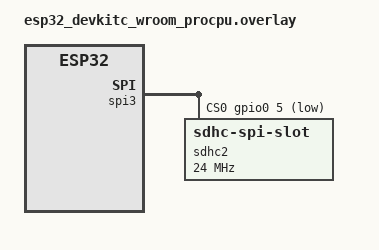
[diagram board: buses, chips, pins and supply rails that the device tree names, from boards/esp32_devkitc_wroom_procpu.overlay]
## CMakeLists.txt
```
# SPDX-License-Identifier: Apache-2.0

cmake_minimum_required(VERSION 3.20.0)
find_package(Zephyr REQUIRED HINTS $ENV{ZEPHYR_BASE})
project(mass)

#FILE(GLOB app_sources src/*.c)
#target_sources(app PRIVATE ${app_sources})

target_sources(app
	PRIVATE 
		src/zsdcard.cpp
		src/main.cpp
)
```

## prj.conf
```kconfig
CONFIG_DISK_ACCESS=y
CONFIG_LOG=y
CONFIG_FILE_SYSTEM=y
CONFIG_FAT_FILESYSTEM_ELM=y
CONFIG_PRINTK=y
CONFIG_MAIN_STACK_SIZE=2048
CONFIG_SPI=y
CONFIG_DISK_DRIVERS=y
CONFIG_DISK_DRIVER_MMC=y

CONFIG_CPP=y
```

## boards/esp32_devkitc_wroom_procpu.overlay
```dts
&spi3 {
  status = "okay";
  cs-gpios = <&gpio0 5 GPIO_ACTIVE_LOW>;

  sdhc2: sdhc@0 {
    compatible = "zephyr,sdhc-spi-slot";
    reg = <0>;
    status = "okay";
    mmc {
      compatible = "zephyr,sdmmc-disk";
      disk-name = "SD";
      status = "okay";
    };
    spi-max-frequency = <24000000>;
  };
};
```

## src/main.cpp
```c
#include "zsdcard.h"

int main(void)
{
	SDCard sdcard = SDCard();

	sdcard.testWrite();

//*
	while (1) 
	{

		k_sleep(K_MSEC(1000));
	}
//*/

	return 0;
}
```

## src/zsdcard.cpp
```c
#include "zsdcard.h"

SDCard::SDCard()
{

}

SDCard::~SDCard()
{

}

#if defined(CONFIG_FAT_FILESYSTEM_ELM)

FATFS SDCard::fat_fs;

fs_mount_t SDCard::mp = {
	.type = FS_FATFS,
	.fs_data = &fat_fs,
};

#elif defined(CONFIG_FILE_SYSTEM_EXT2)

fs_mount_t SDCard::mp = {
	.type = FS_EXT2,
	.flags = FS_MOUNT_FLAG_NO_FORMAT,
	.storage_dev = (void *)DISK_DRIVE_NAME,
	.mnt_point = "/ext",
};

#endif // CONFIG_FAT_FILESYSTEM_ELM

LOG_MODULE_REGISTER(main);

int SDCard::mkdir(const char *path)
{
	int ret = fs_mkdir(path);
	
	if (ret != 0)
	{
		LOG_ERR("Failed to create dir %s, [%d]", path, ret);
	}

	return 0;
}

const char *SDCard::disk_mount_pt = DISK_MOUNT_PT;

void SDCard::probe(void)
{
	// raw disk i/o 
	do {
		static const char *disk_pdrv = DISK_DRIVE_NAME;
		uint64_t memory_size_mb;
		uint32_t block_count;
		uint32_t block_size;

		if (disk_access_ioctl(disk_pdrv, DISK_IOCTL_CTRL_INIT, NULL) != 0) 
		{
			LOG_ERR("Storage init ERROR!");
			break;
		}

		if (disk_access_ioctl(disk_pdrv, DISK_IOCTL_GET_SECTOR_COUNT, &block_count)) 
		{
			LOG_ERR("Unable to get sector count");
			break;
		}
		
		LOG_INF("Block count %u", block_count);

		if (disk_access_ioctl(disk_pdrv, DISK_IOCTL_GET_SECTOR_SIZE, &block_size)) 
		{
			LOG_ERR("Unable to get sector size");
			break;
		}
		printk("Sector size %u\n", block_size);

		memory_size_mb = (uint64_t)block_count * block_size;
		printk("Memory Size(MB) %u\n", (uint32_t)(memory_size_mb >> 20));

		if (disk_access_ioctl(disk_pdrv, DISK_IOCTL_CTRL_DEINIT, NULL) != 0) 
		{
			LOG_ERR("Storage deinit ERROR!");
			break;
		}
	} while (0);
}

int SDCard::mount(void)
{
	mp.mnt_point = disk_mount_pt;

	int res = fs_mount(&mp);

	if (res == FS_RET_OK)
	{
		printk("Disk mounted.\n");
		// Try to unmount and remount the disk 
		res = fs_unmount(&mp);
		if (res != FS_RET_OK)
		{
			printk("Error unmounting disk\n");
			return res;
		}
		res = fs_mount(&mp);
		if (res != FS_RET_OK)
		{
			printk("Error remounting disk\n");
			return res;
		}
	}
	else 
	{
		printk("Error mounting disk.\n");
	}

	return 0;
}

int SDCard::unmount(void)
{
	fs_unmount(&mp);

	return 0;
}

int SDCard::testWrite(void)
{
	probe();

	mount();

/*
	char file_data_buffer[FILE_BUFFER_LENGTH] = {0};
	sprintf(file_data_buffer, "weeeeeeeeeeeeeeeeeee!\n");
	write(file_data_buffer, TEST_FILE);
	//write(file_data_buffer, "fml.dat");
//*/
	
	//search(file_data_buffer, "test.dat\0");
	search(NULL, "test.dat\0");
	
	//lsdir(disk_mount_pt);
	
	unmount();

	return 0;
}

int SDCard::write(char *file_data_buffer, const char *file_name)
{
	fs_file_t file;

	return write(&file, file_data_buffer, file_name);
}

int SDCard::write(fs_file_t *file, char *file_data_buffer, const char *file_name)
{
	char path[MAX_PATH] = {0};
	unsigned int base = strlen(disk_mount_pt);

	fs_file_t_init(file);

	if (base >= (sizeof(path) - REQUIRED_LEN))
	{
		LOG_ERR("Not enough concatenation buffer to create file paths");
		return 1;
	}

	LOG_INF("Creating some dir entries in %s", disk_mount_pt);
	strncpy(path, disk_mount_pt, sizeof(path));

	path[base] = '/';
	++base;
	strcat(&path[base], file_name);

	if (fs_open(file, path, FS_O_WRITE | FS_O_CREATE) != 0)
	{
		LOG_ERR("Failed to create file %s", path);
		return 1;
	}

	int ret = fs_write(file, file_data_buffer, FILE_BUFFER_LENGTH);

	// TODO: do some error checking
	
	fs_close(file);

	return ret;
}

int SDCard::search(char *file_data_buffer, const char *file_name)
{
	int res;
	struct fs_dir_t dirp;
	static struct fs_dirent entry;
	int count = 0;
	const char *path = disk_mount_pt;

	fs_dir_t_init(&dirp);

	// Verify fs_opendir()
	res = fs_opendir(&dirp, path);
	if (res) 
	{
		printk("Error opening dir %s [%d]\n", path, res);
		
		return res;
	}

	printk("\nListing dir %s ...\n", path);

	char testString[] = "test.dat\0";

	for (;;) 
	{
		// Verify fs_readdir() 
		res = fs_readdir(&dirp, &entry);

		// entry.name[0] == 0 means end-of-dir 
		if (res || entry.name[0] == 0) 
		{
			break;
		}

		if(strncmp(entry.name, TEST_FILE, sizeof(TEST_FILE) == 0))
		{
			printk("found %s\n", entry.name);
		}

		if (entry.type == FS_DIR_ENTRY_DIR) 
		{
			printk("[DIR ] %s\n", entry.name);
		} 
		else 
		{
			//if(strncmp(entry.name, TEST_FILE, sizeof(TEST_FILE) == 0))
			printk("comparing %s (%d), %s (%d)\n", 
					entry.name, sizeof(entry.name), TEST_FILE, sizeof(TEST_FILE)
			);
			if(strncmp(entry.name, TEST_FILE, sizeof(TEST_FILE) == 0))
			{
				printk("found %s\n", entry.name);
			}

			printk("[FILE] %s (size = %zu)\n", entry.name, entry.size);
		}

		++count;
	}

	// Verify fs_closedir() 
	res = fs_closedir(&dirp);
	if (res == 0) 
	{
		res = count;
		printk("Closing dir %s [%d]\n", path, res);
	}


	return 0;
}

int SDCard::read(char *file_data_buffer, const char *file_name)
{
	/*
	//ssize_t	fs_read (struct fs_file_t *zfp, void *ptr, size_t size)
	int res;
	fs_dir_t dirp;
	static fs_dirent entry;
	int count = 0;
	//char file_data_buffer[FILE_BUFFER_LENGTH] = {0};
	
	fs_dir_t_init(&dirp);

	res = fs_opendir(&dirp, path);
	if (res) 
	{
		printk("Error opening dir %s [%d]\n", path, res);
		
		return res;
	}

//*/	

	return 0;
}


int SDCard::lsdir(const char *path)
{
	int res;
	struct fs_dir_t dirp;
	static struct fs_dirent entry;
	int count = 0;

	fs_dir_t_init(&dirp);

	// Verify fs_opendir()
	res = fs_opendir(&dirp, path);
	if (res) 
	{
		printk("Error opening dir %s [%d]\n", path, res);
		
		return res;
	}

	printk("\nListing dir %s ...\n", path);
	
	for (;;) 
	{
		// Verify fs_readdir() 
		res = fs_readdir(&dirp, &entry);

		// entry.name[0] == 0 means end-of-dir 
		if (res || entry.name[0] == 0) 
		{
			break;
		}

		if (entry.type == FS_DIR_ENTRY_DIR) 
		{
			printk("[DIR ] %s\n", entry.name);
		} 
		else 
		{
			printk("[FILE] %s (size = %zu)\n", entry.name, entry.size);
		}

		++count;
	}

	// Verify fs_closedir() 
	res = fs_closedir(&dirp);
	if (res == 0) 
	{
		res = count;
		printk("Closing dir %s [%d]\n", path, res);
	}

	return res;
}
```

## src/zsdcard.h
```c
#ifndef _ZSDCARD_H_
#define _ZSDCARD_H_

#include <zephyr/kernel.h>
#include <zephyr/device.h>
#include <zephyr/storage/disk_access.h>
#include <zephyr/logging/log.h>
#include <zephyr/fs/fs.h>
#include <zephyr/drivers/sdhc.h>

#if defined(CONFIG_FAT_FILESYSTEM_ELM)

#include <ff.h>

#if defined(CONFIG_DISK_DRIVER_MMC)
#define DISK_DRIVE_NAME "SD2"
#else
#define DISK_DRIVE_NAME "SD"
#endif //CONFIG_DISK_DRIVER_MMC

#define DISK_MOUNT_PT "/" DISK_DRIVE_NAME ":"

#elif defined(CONFIG_FILE_SYSTEM_EXT2)

#include <zephyr/fs/ext2.h>

#define DISK_DRIVE_NAME "SD"
#define DISK_MOUNT_PT "/ext"

#endif // CONFIG_FAT_FILESYSTEM_ELM

#if defined(CONFIG_FAT_FILESYSTEM_ELM)
#define FS_RET_OK FR_OK
#else
#define FS_RET_OK 0
#endif

#define TEST_FILE "TEST.DAT"
#define MAX_FILENAME 64
#define MAX_PATH MAX_FILENAME + 64
#define BASE_NAME "yarrrr"
#define DIR_NAME BASE_NAME
#define FILE_NAME BASE_NAME".dat"
#define REQUIRED_LEN MAX(sizeof(FILE_NAME), sizeof(DIR_NAME))

#define FILE_BUFFER_LENGTH 128

class SDCard
{
	public:
		SDCard();
		~SDCard();

		int	testWrite(void);
		int mount(void);
		int unmount(void);
		int write(char *, const char *);
		int read(char *, const char *);
		int search(char *, const char *);
//ssize_t	fs_read (struct fs_file_t *zfp, void *ptr, size_t size)
		int write(fs_file_t *, char *, const char *);
		int lsdir(const char *);
		int mkdir(const char *);
	private:
		void probe(void);
		
		static FATFS fat_fs;
		static fs_mount_t mp;
		static const char *disk_mount_pt;
};

#endif
```
